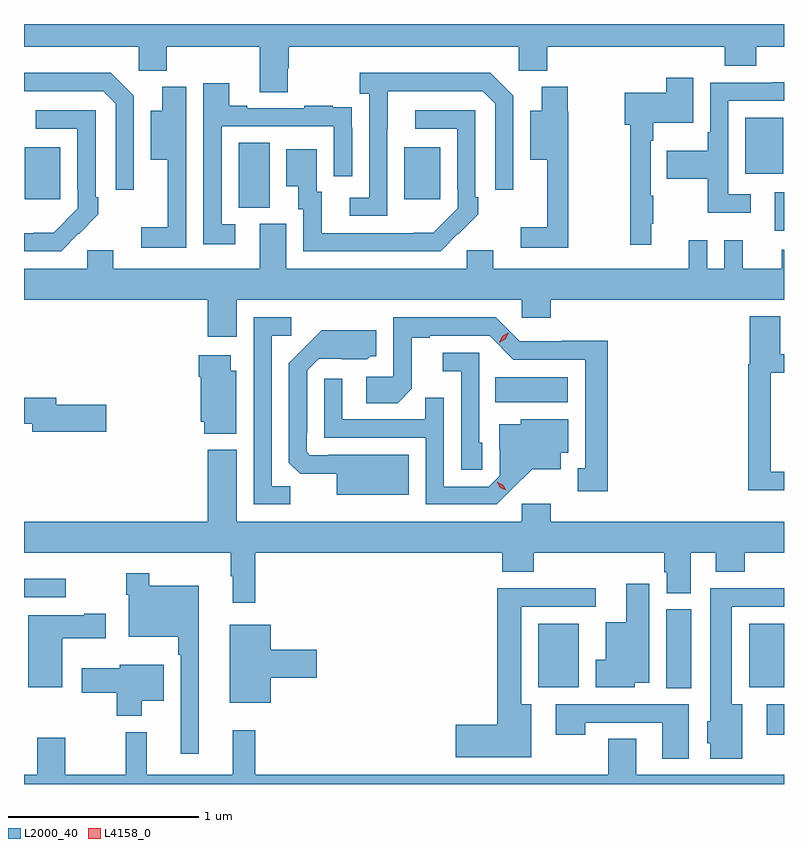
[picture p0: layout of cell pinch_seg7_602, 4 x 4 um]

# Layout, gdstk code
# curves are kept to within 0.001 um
import gdstk
lib = gdstk.Library(unit=1e-6, precision=1e-09)
def R(c, l, rs):  # rectangles x0, y0, x1, y1
    for r in rs: c.add(gdstk.rectangle(r[:2], r[2:], *l))
def P(c, l, *ps):  # polygons
    for p in ps: c.add(gdstk.Polygon(p, *l))
L2000_40 = (2000, 40)
L4158_0 = (4158, 0)

pinch_seg7_602 = lib.new_cell('pinch_seg7_602')
R(pinch_seg7_602, L2000_40, [(139.905,1022.304,139.997,1022.463), (139.376,1022.548,139.51,1022.964), (138.704,1022.552,138.916,1022.887), (139.814,1022.552,139.997,1022.887), (135.997,1023.027,136.216,1023.124), (138.478,1024.052,138.859,1024.186), (139.949,1024.955,139.997,1025.158), (137.126,1025.077,137.29,1025.42), (136.001,1025.121,136.189,1025.395), (137.999,1025.121,138.187,1025.395), (139.793,1025.255,139.993,1025.551)])
P(pinch_seg7_602, L2000_40, [(137.385,1025.811),(137.39,1025.811),(137.39,1025.924),(138.6,1025.924),(138.6,1025.798),(138.752,1025.798),(138.752,1025.924),(139.685,1025.924),(139.685,1025.825),(139.85,1025.825),(139.85,1025.924),(139.997,1025.924),(139.997,1026.044),(135.997,1026.044),(135.997,1025.924),(136.602,1025.924),(136.602,1025.798),(136.749,1025.798),(136.749,1025.924),(137.237,1025.924),(137.237,1025.686),(137.385,1025.686)],
  [(137.91,1025.491),(137.911,1025.691),(138.411,1025.691),(138.477,1025.625),(138.477,1025.172),(138.573,1025.172),(138.573,1025.667),(138.452,1025.788),(137.763,1025.788),(137.763,1025.678),(137.814,1025.678),(137.814,1025.13),(137.712,1025.13),(137.712,1025.034),(137.91,1025.034)],
  [(136.575,1025.667),(136.454,1025.788),(135.997,1025.788),(135.997,1025.691),(136.413,1025.691),(136.479,1025.625),(136.479,1025.172),(136.575,1025.172)],
  [(139.298,1024.993),(139.309,1024.993),(139.309,1025.141),(139.296,1025.141),(139.296,1025.429),(139.309,1025.429),(139.309,1025.525),(139.519,1025.525),(139.519,1025.761),(139.376,1025.761),(139.376,1025.683),(139.159,1025.683),(139.159,1025.513),(139.188,1025.513),(139.188,1024.881),(139.298,1024.881)],
  [(139.822,1025.148),(139.704,1025.148),(139.704,1025.64),(139.997,1025.64),(139.997,1025.738),(139.933,1025.738),(139.933,1025.736),(139.608,1025.736),(139.608,1025.473),(139.596,1025.473),(139.596,1025.377),(139.381,1025.377),(139.381,1025.23),(139.596,1025.23),(139.596,1025.051),(139.822,1025.051)],
  [(137.11,1024.989),(137.037,1024.989),(137.037,1025.505),(137.628,1025.505),(137.628,1025.244),(137.724,1025.244),(137.724,1025.498),(137.723,1025.498),(137.723,1025.607),(137.621,1025.607),(137.621,1025.614),(137.473,1025.614),(137.473,1025.601),(137.173,1025.601),(137.173,1025.614),(137.077,1025.614),(137.077,1025.731),(136.941,1025.731),(136.941,1024.884),(137.11,1024.884)],
  [(138.862,1025.583),(138.858,1025.583),(138.858,1025.713),(138.722,1025.713),(138.722,1025.587),(138.662,1025.587),(138.662,1025.33),(138.752,1025.33),(138.752,1024.975),(138.612,1024.975),(138.612,1024.866),(138.862,1024.866)],
  [(136.851,1025.713),(136.724,1025.713),(136.724,1025.587),(136.664,1025.587),(136.664,1025.33),(136.754,1025.33),(136.754,1024.975),(136.614,1024.975),(136.614,1024.866),(136.851,1024.866)],
  [(136.283,1024.939),(136.284,1024.938),(136.389,1025.043),(136.389,1025.131),(136.374,1025.131),(136.374,1025.589),(136.059,1025.589),(136.059,1025.493),(136.278,1025.493),(136.278,1025.173),(136.281,1025.173),(136.281,1025.073),(136.153,1024.945),(135.997,1024.944),(135.997,1024.848),(136.192,1024.848)],
  [(138.281,1024.939),(138.282,1024.938),(138.387,1025.043),(138.387,1025.131),(138.372,1025.131),(138.372,1025.589),(138.057,1025.589),(138.057,1025.493),(138.276,1025.493),(138.276,1025.173),(138.279,1025.173),(138.279,1025.073),(138.151,1024.945),(137.563,1024.944),(137.563,1025.16),(137.539,1025.16),(137.539,1025.386),(137.378,1025.386),(137.378,1025.189),(137.441,1025.189),(137.441,1025.07),(137.466,1025.07),(137.466,1024.848),(138.19,1024.848)],
  [(137.116,1024.592),(138.618,1024.592),(138.618,1024.499),(138.77,1024.499),(138.77,1024.592),(139.997,1024.592),(139.997,1024.855),(139.985,1024.855),(139.985,1024.756),(139.781,1024.756),(139.781,1024.906),(139.683,1024.906),(139.683,1024.756),(139.593,1024.756),(139.593,1024.906),(139.496,1024.906),(139.496,1024.756),(138.466,1024.756),(138.466,1024.854),(138.327,1024.854),(138.327,1024.756),(137.377,1024.756),(137.377,1024.992),(137.237,1024.992),(137.237,1024.756),(136.468,1024.756),(136.468,1024.854),(136.329,1024.854),(136.329,1024.756),(135.997,1024.756),(135.997,1024.592),(136.964,1024.592),(136.964,1024.398),(137.116,1024.398)],
  [(139.997,1023.687),(139.926,1023.687),(139.926,1024.209),(139.997,1024.209),(139.997,1024.305),(139.978,1024.305),(139.978,1024.507),(139.817,1024.507),(139.817,1024.254),(139.81,1024.254),(139.81,1023.59),(139.997,1023.59)],
  [(139.069,1024.376),(138.828,1024.376),(138.828,1024.374),(138.606,1024.374),(138.48,1024.5),(137.94,1024.5),(137.94,1024.188),(137.799,1024.188),(137.799,1024.048),(137.963,1024.048),(138.039,1024.124),(138.039,1024.392),(138.133,1024.392),(138.133,1024.404),(138.447,1024.404),(138.573,1024.278),(138.95,1024.278),(138.95,1023.705),(138.911,1023.705),(138.911,1023.585),(139.069,1023.585)],
  [(137.397,1023.611),(137.301,1023.611),(137.301,1024.404),(137.404,1024.404),(137.404,1024.5),(137.205,1024.5),(137.205,1023.516),(137.397,1023.516)],
  [(138.022,1023.778),(137.602,1023.778),(137.602,1023.774),(137.502,1023.774),(137.484,1023.792),(137.484,1023.892),(137.487,1023.892),(137.487,1024.221),(137.547,1024.281),(137.804,1024.28),(137.82,1024.296),(137.851,1024.296),(137.851,1024.432),(137.563,1024.432),(137.391,1024.258),(137.391,1023.736),(137.45,1023.677),(137.642,1023.677),(137.642,1023.566),(138.022,1023.566)],
  [(138.408,1023.84),(138.393,1023.84),(138.393,1024.314),(138.201,1024.314),(138.201,1024.217),(138.297,1024.217),(138.297,1023.697),(138.408,1023.697)],
  [(137.113,1024.218),(137.086,1024.218),(137.086,1024.3),(136.916,1024.3),(136.916,1024.187),(136.928,1024.187),(136.928,1023.951),(136.946,1023.951),(136.946,1023.887),(137.113,1023.887)],
  [(138.568,1023.599),(138.671,1023.701),(138.823,1023.701),(138.823,1023.788),(138.862,1023.788),(138.862,1023.964),(138.612,1023.964),(138.612,1023.937),(138.497,1023.937),(138.497,1023.808),(138.501,1023.808),(138.501,1023.666),(138.444,1023.609),(138.207,1023.609),(138.207,1024.076),(138.109,1024.076),(138.109,1023.963),(137.673,1023.963),(137.673,1024.177),(137.577,1024.177),(137.577,1023.867),(138.111,1023.867),(138.111,1023.516),(138.484,1023.516)],
  [(136.429,1024.04),(136.168,1024.04),(136.168,1024.076),(135.997,1024.076),(135.997,1023.94),(136.04,1023.94),(136.04,1023.898),(136.429,1023.898)],
  [(137.213,1023.26),(138.515,1023.26),(138.515,1023.161),(138.68,1023.161),(138.68,1023.26),(139.367,1023.26),(139.367,1023.159),(139.379,1023.159),(139.379,1023.049),(139.507,1023.049),(139.507,1023.26),(139.637,1023.26),(139.637,1023.161),(139.79,1023.161),(139.79,1023.26),(139.997,1023.26),(139.997,1023.424),(138.77,1023.424),(138.77,1023.52),(138.618,1023.52),(138.618,1023.424),(137.116,1023.424),(137.116,1023.802),(136.964,1023.802),(136.964,1023.424),(135.997,1023.424),(135.997,1023.26),(137.085,1023.26),(137.085,1023.137),(137.096,1023.137),(137.096,1022.997),(137.213,1022.997)],
  [(136.918,1023.088),(136.657,1023.088),(136.657,1023.154),(136.536,1023.154),(136.536,1023.041),(136.548,1023.041),(136.548,1022.819),(136.809,1022.819),(136.809,1022.723),(136.821,1022.723),(136.821,1022.202),(136.918,1022.202)],
  [(139.212,1022.576),(139.288,1022.576),(139.288,1023.097),(139.166,1023.097),(139.166,1022.896),(139.058,1022.896),(139.058,1022.698),(139.007,1022.698),(139.007,1022.552),(139.212,1022.552)],
  [(139.777,1022.464),(139.723,1022.464),(139.723,1022.976),(139.997,1022.976),(139.997,1023.074),(139.61,1023.074),(139.61,1022.373),(139.592,1022.373),(139.592,1022.259),(139.61,1022.259),(139.61,1022.178),(139.777,1022.178)],
  [(138.667,1022.464),(138.613,1022.464),(138.613,1022.976),(139.006,1022.976),(139.006,1023.074),(138.488,1023.074),(138.488,1022.357),(138.27,1022.357),(138.27,1022.186),(138.667,1022.186)],
  [(136.198,1022.81),(136.426,1022.81),(136.426,1022.94),(136.313,1022.94),(136.313,1022.932),(136.019,1022.932),(136.019,1022.552),(136.198,1022.552)],
  [(137.296,1022.603),(137.539,1022.603),(137.539,1022.75),(137.296,1022.75),(137.296,1022.881),(137.081,1022.881),(137.081,1022.471),(137.296,1022.471)],
  [(136.618,1022.483),(136.732,1022.483),(136.732,1022.671),(136.5,1022.671),(136.5,1022.653),(136.302,1022.653),(136.302,1022.524),(136.484,1022.524),(136.484,1022.402),(136.618,1022.402)],
  [(139.495,1022.463),(138.795,1022.463),(138.795,1022.304),(138.951,1022.304),(138.951,1022.367),(139.355,1022.367),(139.355,1022.178),(139.495,1022.178)],
  [(139.997,1022.092),(139.219,1022.092),(139.219,1022.282),(139.072,1022.282),(139.072,1022.092),(137.213,1022.092),(137.213,1022.326),(137.096,1022.326),(137.096,1022.092),(136.643,1022.092),(136.643,1022.317),(136.533,1022.317),(136.533,1022.092),(136.215,1022.092),(136.215,1022.287),(136.067,1022.287),(136.067,1022.092),(135.997,1022.092),(135.997,1022.044),(139.997,1022.044)])
P(pinch_seg7_602, L4158_0, [(138.497,1024.367),(138.497,1024.367),(138.515,1024.4),(138.546,1024.419),(138.547,1024.419),(138.547,1024.419),(138.529,1024.386),(138.497,1024.367)],
  [(138.534,1023.589),(138.503,1023.604),(138.486,1023.634),(138.486,1023.634),(138.486,1023.634),(138.517,1023.619),(138.534,1023.589),(138.534,1023.589)])

lib.write_gds('pinch_seg7_602.gds')
